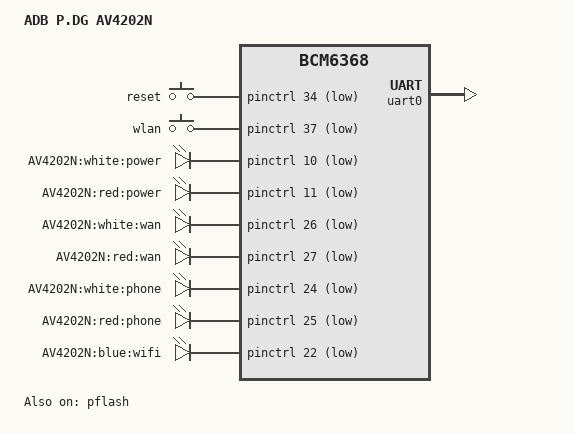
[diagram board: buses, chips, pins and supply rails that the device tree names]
/dts-v1/;

#include "bcm6368.dtsi"

#include <dt-bindings/gpio/gpio.h>
#include <dt-bindings/input/input.h>

/ {
	model = "ADB P.DG AV4202N";
	compatible = "adb,av4202n", "brcm,bcm6368";

	aliases {
		led-boot = &led_power_white;
		led-failsafe = &led_power_white;
		led-running = &led_power_white;
		led-upgrade = &led_power_white;
	};

	chosen {
		bootargs = "rootfstype=squashfs,jffs2 noinitrd console=ttyS0,115200";
		stdout-path = "serial0:115200n8";
	};

	keys {
		compatible = "gpio-keys-polled";
		#address-cells = <1>;
		#size-cells = <0>;
		poll-interval = <20>;

		reset {
			label = "reset";
			gpios = <&pinctrl 34 GPIO_ACTIVE_LOW>;
			linux,code = <KEY_RESTART>;
			debounce-interval = <60>;
		};

		wlan {
			label = "wlan";
			gpios = <&pinctrl 37 GPIO_ACTIVE_LOW>;
			linux,code = <KEY_WLAN>;
			debounce-interval = <60>;
		};
	};

	leds {
		compatible = "gpio-leds";

		led_power_white: power_white {
			label = "AV4202N:white:power";
			gpios = <&pinctrl 10 GPIO_ACTIVE_LOW>;
			default-state = "on";
		};
		power_red {
			label = "AV4202N:red:power";
			gpios = <&pinctrl 11 GPIO_ACTIVE_LOW>;
		};
		wan_white {
			label = "AV4202N:white:wan";
			gpios = <&pinctrl 26 GPIO_ACTIVE_LOW>;
		};
		wan_red {
			label = "AV4202N:red:wan";
			gpios = <&pinctrl 27 GPIO_ACTIVE_LOW>;
		};
		phone_white {
			label = "AV4202N:white:phone";
			gpios = <&pinctrl 24 GPIO_ACTIVE_LOW>;
		};
		phone_red {
			label = "AV4202N:red:phone";
			gpios = <&pinctrl 25 GPIO_ACTIVE_LOW>;
		};
		wifi {
			label = "AV4202N:blue:wifi";
			gpios = <&pinctrl 22 GPIO_ACTIVE_LOW>;
		};
	};
};

&pflash {
	status = "okay";

	partitions {
		compatible = "fixed-partitions";
		#address-cells = <1>;
		#size-cells = <1>;

		cfe@0 {
			label = "CFE";
			reg = <0x000000 0x020000>;
			read-only;
		};

		linux@20000 {
			label = "linux";
			reg = <0x020000 0xfc0000>;
			compatible = "brcm,bcm963xx-imagetag";
		};

		nvram@fe0000 {
			label = "nvram";
			reg = <0xfe0000 0x020000>;
		};
	};
};

&pinctrl {
	pinctrl-names = "default";
	pinctrl-0 = <&pinctrl_pci>;
};

&uart0 {
	status = "okay";
};
